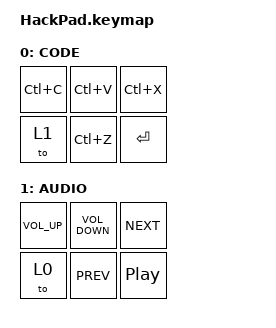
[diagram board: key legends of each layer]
#include <behaviors.dtsi>
#include <dt-bindings/zmk/keys.h>

// / {
//     keymap {
//         compatible = "zmk,keymap";

//         default_layer {
//             bindings = <
//                 &kp C_VOL_UP &kp C_VOL_DOWN &kp C_PLAY_PAUSE &kp C &kp V &kp ENTER
//             >;
//         };
//     };
// };
/ {
    keymap {
        compatible = "zmk,keymap";

        default_layer { // Layer 0
            display-name = "CODE";
// ----------------------------------------------
// |      C      |        V       |      X      |
// |    &mo 1    |   UNDO LEFT    |    Enter    |
            bindings = <
                &kp LC(C)    &kp LC(V)       &kp LC(X)
                &to 1        &kp LC(Z)       &kp ENTER
            >;
        };
        abc { // Layer 1
            display-name = "AUDIO";
// ----------------------------------------------
// |      A      |       B       |       C      |
// |    &trans   |    &trans     |     &trans   |
            bindings = <
                &kp C_VOLUME_UP     &kp C_VOLUME_DOWN     &kp C_NEXT
                &to 0           &kp C_PREV          &kp C_PP
            >;
        };
    };

    macros {
        email_macro: email_macro {
            compatible = "zmk,behavior-macro";
            label = "EMAIL";
            #binding-cells = <0>;
            bindings = <
                &kp A &kp O &kp I &kp S &kp H &kp I &kp K
                &kp K &kp H &kp A &kp N
                &kp AT
                &kp G &kp M &kp A &kp I &kp L
                &kp DOT
                &kp C &kp O &kp M
            >;
        };
    };

    combos {
        compatible = "zmk,combos";

        // --- Bootloader Hold Combo ---
        bootloader_combo {
            timeout-ms = <3000>;
            require-prior-idle-ms = <200>;
            key-positions = <0 5>;
            bindings = <&bootloader>;
        };

        // --- Layer 0 Email Combo ---
        email_combo {
            timeout-ms = <50>;
            key-positions = <0 1>;
            layers = <0>;
            bindings = <&macro email_macro>;
        };

        // --- Layer 0 Combo: 1 + 2 → Ctrl+Y ---
        layer0_ctrl_y {
            timeout-ms = <50>;
            key-positions = <1 2>;
            layers = <0>;
            bindings = <&kp LC(Y)>;
        };

        // --- Layer 1 Combo: 0 + 1 → Mute ---
        layer1_mute {
            timeout-ms = <50>;
            key-positions = <0 1>;
            layers = <1>;
            bindings = <&kp C_MUTE>;
        };
    };
};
